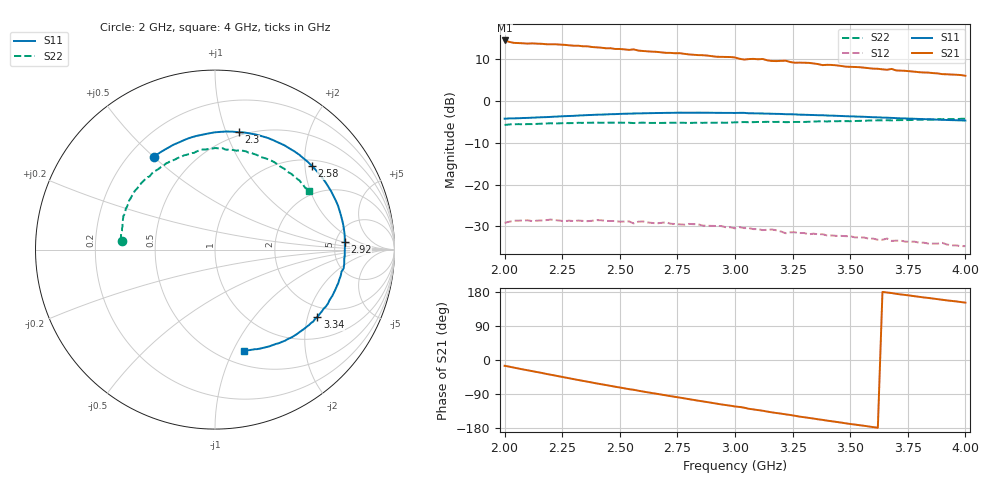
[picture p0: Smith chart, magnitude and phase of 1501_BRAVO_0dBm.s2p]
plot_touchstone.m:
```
% this function plot the info for a touchstone file ( this information is
% mandatory to save in format RI)

function plot_touchstone(direction)
    
    S_50 = sparameters('1501_BRAVO_0dBm.s2p');
    %S_50 = sparameters(direction);
    subplot(2,2,1)
    rfplot(S_50,1,1)
    title('S11')
    subplot(2,2,2)
    rfplot(S_50,1,2)
    title('S12')
    subplot(2,2,3)
    rfplot(S_50,2,1)
    title('S21')
    subplot(2,2,4)
    rfplot(S_50,2,2)
    title('S22')

end
```
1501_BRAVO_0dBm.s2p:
! Create 01-Jun-2022 12:40:17
! 2-port S-parameter file, 101 frequency points
# Hz S RI R 50
!freq  ReS11  ImS11  ReS21  ImS21  ReS12  ImS12  ReS22  ImS22
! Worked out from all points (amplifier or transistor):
!   101 points, 2 GHz to 4 GHz, reference 50 ohm
!   highest |S21| = 14.5 dB at 2 GHz (marker M1)
!   |S21| within 3 dB of that: start of sweep to 2.726 GHz
!   unconditionally stable (mu >= 1): start of sweep to 2.148 GHz; 2.649 GHz to 2.689 GHz; 2.705 GHz to end of sweep
!   at 2.32 GHz: K = 0.91, MSG = 20.9 dB, |S12| = -28.6 dB
!   at 3 GHz: K = 1.39, MAG = 16.7 dB, |S12| = -30.5 dB
!   at 4 GHz: K = 5.32, MAG = 10.2 dB, |S12| = -34.7 dB
!   S11 on the Smith chart (normalised r, x): 2 GHz: 0.30, +0.50; 2.3 GHz: 0.47, +1.11; 2.58 GHz: 1.15, +2.17; 2.92 GHz: 6.05, +1.09; 3.34 GHz: 1.65, -2.31; 4 GHz: 0.65, -1.11
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2e9  -0.34 0.515  5.137 -1.408  0.001 -0.035  -0.517 0.048
2.22e9  -0.004 0.653  3.612 -3.155  -0.014 -0.035  -0.503 0.198
2.3e9  0.132 0.654  2.931 -3.559  -0.018 -0.032  -0.483 0.256
2.46e9  0.387 0.581  1.59 -3.995  -0.026 -0.026  -0.417 0.363
2.58e9  0.54 0.466  0.633 -3.983  -0.03 -0.02  -0.353 0.422
2.76e9  0.685 0.246  -0.598 -3.702  -0.032 -0.01  -0.251 0.492
2.92e9  0.723 0.043  -1.447 -3.076  -0.032 -0.002  -0.141 0.534
3e9  0.72 -0.054  -1.796 -2.806  -0.03 0.001  -0.098 0.549
3.34e9  0.571 -0.374  -2.552 -1.22  -0.023 0.012  0.142 0.553
3.68e9  0.354 -0.522  -2.426 0.14  -0.014 0.016  0.363 0.463
4e9  0.163 -0.563  -1.766 0.966  -0.007 0.017  0.522 0.325
